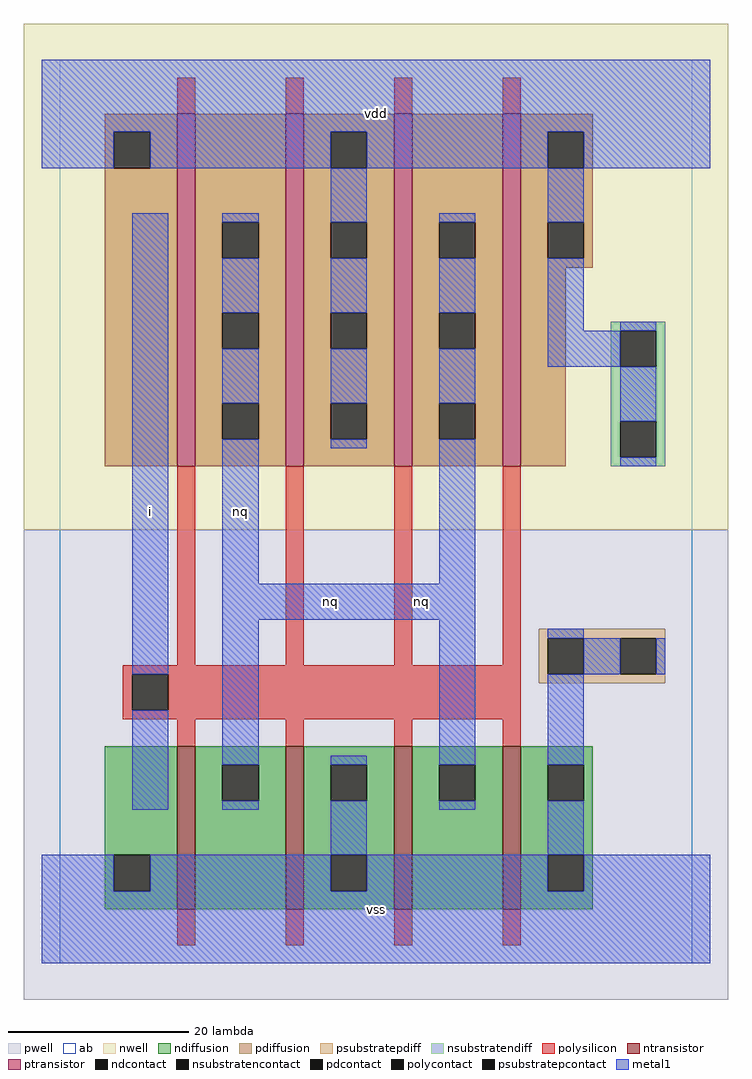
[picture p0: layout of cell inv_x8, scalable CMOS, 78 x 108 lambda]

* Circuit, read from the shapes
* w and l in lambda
.subckt inv_x8 i nq vdd vss
M1 nq i vss vss nfet w=18 l=2 m=4
M2 nq i vdd vdd pfet w=39 l=2 m=4
.ends

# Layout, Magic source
magic
tech scmos
<< ab >>
rect 0 0 70 100
<< pwell >>
rect -4 -4 74 48
<< nwell >>
rect -4 48 74 104
<< polysilicon >>
rect 13 94 15 98
rect 25 94 27 98
rect 37 94 39 98
rect 49 94 51 98
rect 13 33 15 55
rect 25 33 27 55
rect 37 33 39 55
rect 49 33 51 55
rect 7 32 51 33
rect 7 28 8 32
rect 12 28 51 32
rect 7 27 51 28
rect 13 24 15 27
rect 25 24 27 27
rect 37 24 39 27
rect 49 24 51 27
rect 13 2 15 6
rect 25 2 27 6
rect 37 2 39 6
rect 49 2 51 6
<< ndiffusion >>
rect 5 12 13 24
rect 5 8 6 12
rect 10 8 13 12
rect 5 6 13 8
rect 15 22 25 24
rect 15 18 18 22
rect 22 18 25 22
rect 15 6 25 18
rect 27 22 37 24
rect 27 18 30 22
rect 34 18 37 22
rect 27 12 37 18
rect 27 8 30 12
rect 34 8 37 12
rect 27 6 37 8
rect 39 22 49 24
rect 39 18 42 22
rect 46 18 49 22
rect 39 6 49 18
rect 51 22 59 24
rect 51 18 54 22
rect 58 18 59 22
rect 51 12 59 18
rect 51 8 54 12
rect 58 8 59 12
rect 51 6 59 8
<< pdiffusion >>
rect 5 92 13 94
rect 5 88 6 92
rect 10 88 13 92
rect 5 55 13 88
rect 15 82 25 94
rect 15 78 18 82
rect 22 78 25 82
rect 15 72 25 78
rect 15 68 18 72
rect 22 68 25 72
rect 15 62 25 68
rect 15 58 18 62
rect 22 58 25 62
rect 15 55 25 58
rect 27 92 37 94
rect 27 88 30 92
rect 34 88 37 92
rect 27 82 37 88
rect 27 78 30 82
rect 34 78 37 82
rect 27 72 37 78
rect 27 68 30 72
rect 34 68 37 72
rect 27 62 37 68
rect 27 58 30 62
rect 34 58 37 62
rect 27 55 37 58
rect 39 82 49 94
rect 39 78 42 82
rect 46 78 49 82
rect 39 72 49 78
rect 39 68 42 72
rect 46 68 49 72
rect 39 62 49 68
rect 39 58 42 62
rect 46 58 49 62
rect 39 55 49 58
rect 51 92 59 94
rect 51 88 54 92
rect 58 88 59 92
rect 51 82 59 88
rect 51 78 54 82
rect 58 78 59 82
rect 51 77 59 78
rect 51 55 56 77
<< metal1 >>
rect -2 92 72 100
rect -2 88 6 92
rect 10 88 30 92
rect 34 88 54 92
rect 58 88 72 92
rect 8 32 12 83
rect 8 17 12 28
rect 18 82 22 83
rect 18 72 22 78
rect 18 62 22 68
rect 18 42 22 58
rect 30 82 34 88
rect 30 72 34 78
rect 30 62 34 68
rect 30 57 34 58
rect 42 82 46 83
rect 42 72 46 78
rect 42 62 46 68
rect 54 82 58 88
rect 54 70 58 78
rect 62 70 66 71
rect 54 66 62 70
rect 42 42 46 58
rect 62 60 66 66
rect 62 55 66 56
rect 18 38 46 42
rect 18 22 22 38
rect 18 17 22 18
rect 30 22 34 23
rect 30 12 34 18
rect 42 22 46 38
rect 42 17 46 18
rect 54 36 58 37
rect 58 32 62 36
rect 66 32 67 36
rect 54 22 58 32
rect 54 12 58 18
rect -2 8 6 12
rect 10 8 30 12
rect 34 8 54 12
rect 58 8 72 12
rect -2 0 72 8
<< ntransistor >>
rect 13 6 15 24
rect 25 6 27 24
rect 37 6 39 24
rect 49 6 51 24
<< ptransistor >>
rect 13 55 15 94
rect 25 55 27 94
rect 37 55 39 94
rect 49 55 51 94
<< polycontact >>
rect 8 28 12 32
<< ndcontact >>
rect 6 8 10 12
rect 18 18 22 22
rect 30 18 34 22
rect 30 8 34 12
rect 42 18 46 22
rect 54 18 58 22
rect 54 8 58 12
<< pdcontact >>
rect 6 88 10 92
rect 18 78 22 82
rect 18 68 22 72
rect 18 58 22 62
rect 30 88 34 92
rect 30 78 34 82
rect 30 68 34 72
rect 30 58 34 62
rect 42 78 46 82
rect 42 68 46 72
rect 42 58 46 62
rect 54 88 58 92
rect 54 78 58 82
<< psubstratepcontact >>
rect 54 32 58 36
rect 62 32 66 36
<< nsubstratencontact >>
rect 62 66 66 70
rect 62 56 66 60
<< psubstratepdiff >>
rect 53 36 67 37
rect 53 32 54 36
rect 58 32 62 36
rect 66 32 67 36
rect 53 31 67 32
<< nsubstratendiff >>
rect 61 70 67 71
rect 61 66 62 70
rect 66 66 67 70
rect 61 60 67 66
rect 61 56 62 60
rect 66 56 67 60
rect 61 55 67 56
<< labels >>
rlabel metal1 10 50 10 50 6 i
rlabel metal1 30 40 30 40 6 nq
rlabel metal1 20 50 20 50 6 nq
rlabel metal1 35 6 35 6 6 vss
rlabel metal1 40 40 40 40 6 nq
rlabel metal1 35 94 35 94 6 vdd
<< end >>
